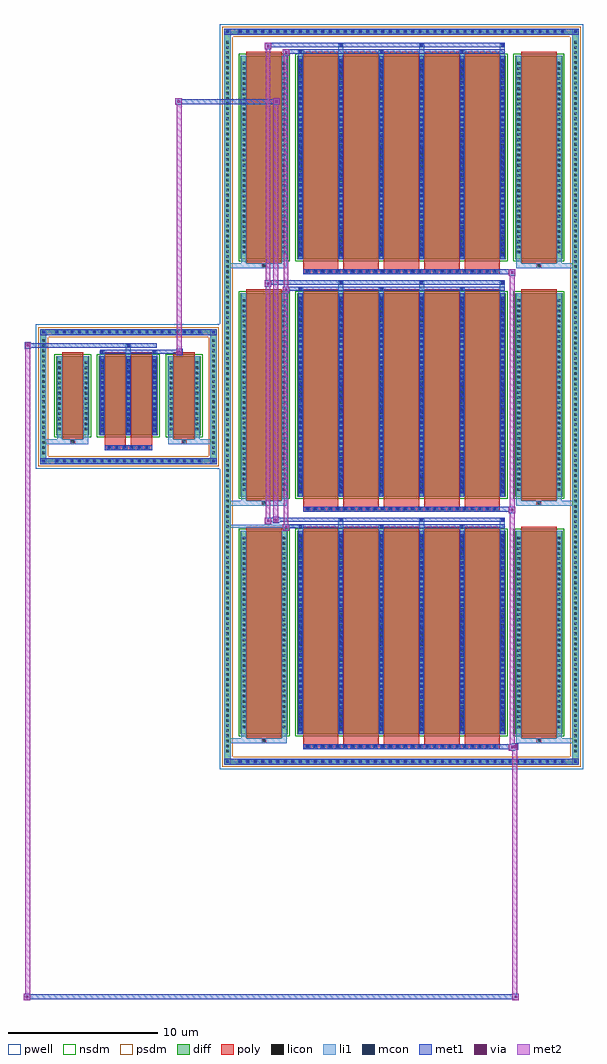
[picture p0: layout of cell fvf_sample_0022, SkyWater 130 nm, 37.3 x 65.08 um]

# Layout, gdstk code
import gdstk
lib = gdstk.Library(unit=1e-6, precision=1e-09)
def R(c, l, rs):  # rectangles x0, y0, x1, y1
    for r in rs: c.add(gdstk.rectangle(r[:2], r[2:], *l))
def A(c, l, x, y, w, h, nx, ny, dx, dy):  # array of equal rectangles
    R(c, l, [(x+i*dx, y+j*dy, x+i*dx+w, y+j*dy+h) for i in range(nx) for j in range(ny)])
def P(c, l, *ps):  # polygons
    for p in ps: c.add(gdstk.Polygon(p, *l))
pwell = (64, 44)
diff = (65, 20)
poly = (66, 20)
licon = (66, 44)
li1 = (67, 20)
mcon = (67, 44)
met1 = (68, 20)
via = (68, 44)
met2 = (69, 20)
nsdm = (93, 44)
psdm = (94, 20)

fvf_sample_0022 = lib.new_cell('fvf_sample_0022')
R(fvf_sample_0022, pwell, [(6.091,-24.848,30.325,24.848), (-6.191,-4.817,6.191,4.817)])
A(fvf_sample_0022, diff, 7.253, -24.538, 0.41, 0.41, 44, 2, 0.5, 48.666)
A(fvf_sample_0022, diff, 6.401, -23.835, 0.41, 0.41, 1, 140, 0, 0.34)
A(fvf_sample_0022, diff, 29.605, -23.835, 0.41, 0.41, 1, 140, 0, 0.34)
A(fvf_sample_0022, diff, 7.471, -22.517, 3.142, 13.586, 1, 3, 0, 15.832)
A(fvf_sample_0022, diff, 11.253, -22.517, 13.91, 13.586, 1, 3, 0, 15.832)
A(fvf_sample_0022, diff, 25.803, -22.517, 3.142, 13.586, 1, 3, 0, 15.832)
A(fvf_sample_0022, diff, -4.955, -4.507, 0.41, 0.41, 20, 2, 0.5, 8.604)
A(fvf_sample_0022, diff, -5.881, -3.945, 0.41, 0.41, 1, 23, 0, 0.34)
A(fvf_sample_0022, diff, 5.471, -3.945, 0.41, 0.41, 1, 23, 0, 0.34)
R(fvf_sample_0022, diff, [(7.253,-24.538,29.163,-24.128), (6.401,-23.835,6.811,23.835), (29.605,-23.835,30.015,23.835), (-4.955,-4.507,4.955,-4.097), (-5.881,-3.945,-5.471,3.945), (5.471,-3.945,5.881,3.945), (-4.811,-2.586,-2.613,2.702), (-1.973,-2.586,1.973,2.702), (2.613,-2.586,4.811,2.702), (-4.955,4.097,4.955,4.507), (7.253,24.128,29.163,24.538)])
P(fvf_sample_0022, diff, [(5.881,4.507),(-5.881,4.507),(-5.881,-4.097),(-5.471,-4.097),(-5.471,4.097),(5.471,4.097),(5.471,-4.097),(-5.471,-4.097),(-5.881,-4.097),(-5.881,-4.507),(5.881,-4.507)],
  [(30.015,24.538),(6.401,24.538),(6.401,-24.128),(6.811,-24.128),(6.811,24.128),(29.605,24.128),(29.605,-24.128),(6.811,-24.128),(6.401,-24.128),(6.401,-24.538),(30.015,-24.538)])
A(fvf_sample_0022, poly, 11.643, -23.498, 13.13, 0.33, 1, 3, 0, 15.832)
A(fvf_sample_0022, poly, 11.793, -23.498, 0.33, 0.33, 26, 3, 0.5, 15.832)
A(fvf_sample_0022, poly, 11.643, -23.168, 2.362, 0.401, 5, 3, 2.692, 15.832)
A(fvf_sample_0022, poly, 7.861, -22.767, 2.362, 14.086, 1, 3, 0, 15.832)
A(fvf_sample_0022, poly, 11.643, -22.767, 2.362, 14.086, 5, 3, 2.692, 15.832)
A(fvf_sample_0022, poly, 26.193, -22.767, 2.362, 14.086, 1, 3, 0, 15.832)
A(fvf_sample_0022, poly, -1.415, -3.566, 0.33, 0.33, 6, 1, 0.5, 0)
R(fvf_sample_0022, poly, [(8.877,-23.097,9.207,-22.767), (8.877,-23.097,9.207,-22.767), (27.209,-23.097,27.539,-22.767), (27.209,-23.097,27.539,-22.767), (8.877,-7.265,9.207,-6.935), (8.877,-7.265,9.207,-6.935), (27.209,-7.265,27.539,-6.935), (27.209,-7.265,27.539,-6.935), (-1.583,-3.566,1.583,-3.236), (-1.583,-3.236,-0.165,-2.836), (0.165,-3.236,1.583,-2.836), (-3.877,-3.166,-3.547,-2.836), (-3.877,-3.166,-3.547,-2.836), (3.547,-3.166,3.877,-2.836), (3.547,-3.166,3.877,-2.836), (-4.421,-2.836,-3.003,2.952), (-1.583,-2.836,-0.165,2.952), (0.165,-2.836,1.583,2.952), (3.003,-2.836,4.421,2.952), (8.877,8.567,9.207,8.897), (8.877,8.567,9.207,8.897), (27.209,8.567,27.539,8.897), (27.209,8.567,27.539,8.897)])
A(fvf_sample_0022, licon, 7.373, -24.418, 0.17, 0.17, 44, 2, 0.5, 48.666)
A(fvf_sample_0022, licon, 6.521, -23.715, 0.17, 0.17, 1, 140, 0, 0.34)
A(fvf_sample_0022, licon, 29.725, -23.715, 0.17, 0.17, 1, 140, 0, 0.34)
A(fvf_sample_0022, licon, 11.873, -23.418, 0.17, 0.17, 26, 3, 0.5, 15.832)
A(fvf_sample_0022, licon, 8.957, -23.017, 0.17, 0.17, 1, 3, 0, 15.832)
A(fvf_sample_0022, licon, 27.289, -23.017, 0.17, 0.17, 1, 3, 0, 15.832)
A(fvf_sample_0022, licon, 7.611, -22.099, 0.17, 0.17, 1, 38, 0, 0.34)
A(fvf_sample_0022, licon, 10.303, -22.099, 0.17, 0.17, 1, 38, 0, 0.34)
A(fvf_sample_0022, licon, 11.393, -22.099, 0.17, 0.17, 6, 38, 2.692, 0.34)
A(fvf_sample_0022, licon, 25.943, -22.099, 0.17, 0.17, 1, 38, 0, 0.34)
A(fvf_sample_0022, licon, 28.635, -22.099, 0.17, 0.17, 1, 38, 0, 0.34)
A(fvf_sample_0022, licon, 7.611, -6.267, 0.17, 0.17, 1, 38, 0, 0.34)
A(fvf_sample_0022, licon, 10.303, -6.267, 0.17, 0.17, 1, 38, 0, 0.34)
A(fvf_sample_0022, licon, 11.393, -6.267, 0.17, 0.17, 6, 38, 2.692, 0.34)
A(fvf_sample_0022, licon, 25.943, -6.267, 0.17, 0.17, 1, 38, 0, 0.34)
A(fvf_sample_0022, licon, 28.635, -6.267, 0.17, 0.17, 1, 38, 0, 0.34)
A(fvf_sample_0022, licon, -4.835, -4.387, 0.17, 0.17, 20, 2, 0.5, 8.604)
A(fvf_sample_0022, licon, -5.761, -3.825, 0.17, 0.17, 1, 23, 0, 0.34)
A(fvf_sample_0022, licon, 5.591, -3.825, 0.17, 0.17, 1, 23, 0, 0.34)
A(fvf_sample_0022, licon, -1.335, -3.486, 0.17, 0.17, 6, 1, 0.5, 0)
A(fvf_sample_0022, licon, -4.671, -2.237, 0.17, 0.17, 1, 14, 0, 0.34)
A(fvf_sample_0022, licon, -2.923, -2.237, 0.17, 0.17, 1, 14, 0, 0.34)
A(fvf_sample_0022, licon, -1.833, -2.237, 0.17, 0.17, 3, 14, 1.748, 0.34)
A(fvf_sample_0022, licon, 2.753, -2.237, 0.17, 0.17, 1, 14, 0, 0.34)
A(fvf_sample_0022, licon, 4.501, -2.237, 0.17, 0.17, 1, 14, 0, 0.34)
A(fvf_sample_0022, licon, 7.611, 9.565, 0.17, 0.17, 1, 38, 0, 0.34)
A(fvf_sample_0022, licon, 10.303, 9.565, 0.17, 0.17, 1, 38, 0, 0.34)
A(fvf_sample_0022, licon, 11.393, 9.565, 0.17, 0.17, 6, 38, 2.692, 0.34)
A(fvf_sample_0022, licon, 25.943, 9.565, 0.17, 0.17, 1, 38, 0, 0.34)
A(fvf_sample_0022, licon, 28.635, 9.565, 0.17, 0.17, 1, 38, 0, 0.34)
R(fvf_sample_0022, licon, [(-3.797,-3.086,-3.627,-2.916), (3.627,-3.086,3.797,-2.916)])
A(fvf_sample_0022, li1, 7.293, -24.498, 0.33, 0.33, 44, 2, 0.5, 48.666)
A(fvf_sample_0022, li1, 6.441, -23.795, 0.33, 0.33, 1, 140, 0, 0.34)
A(fvf_sample_0022, li1, 29.645, -23.795, 0.33, 0.33, 1, 140, 0, 0.34)
A(fvf_sample_0022, li1, 11.793, -23.498, 0.33, 0.33, 26, 3, 0.5, 15.832)
A(fvf_sample_0022, li1, 6.401, -23.097, 2.476, 0.33, 1, 3, 0, 15.832)
A(fvf_sample_0022, li1, 7.531, -23.097, 0.33, 0.58, 1, 3, 0, 15.832)
A(fvf_sample_0022, li1, 7.531, -23.097, 1.346, 0.33, 1, 3, 0, 15.832)
A(fvf_sample_0022, li1, 8.877, -23.097, 0.33, 0.33, 1, 3, 0, 15.832)
A(fvf_sample_0022, li1, 9.207, -23.097, 1.346, 0.33, 1, 3, 0, 15.832)
A(fvf_sample_0022, li1, 10.223, -23.097, 0.33, 0.58, 1, 3, 0, 15.832)
A(fvf_sample_0022, li1, 25.863, -23.097, 0.33, 0.58, 1, 3, 0, 15.832)
A(fvf_sample_0022, li1, 25.863, -23.097, 1.346, 0.33, 1, 3, 0, 15.832)
A(fvf_sample_0022, li1, 27.209, -23.097, 0.33, 0.33, 1, 3, 0, 15.832)
A(fvf_sample_0022, li1, 27.209, -23.097, 2.806, 0.33, 1, 3, 0, 15.832)
A(fvf_sample_0022, li1, 27.539, -23.097, 1.346, 0.33, 1, 3, 0, 15.832)
A(fvf_sample_0022, li1, 28.555, -23.097, 0.33, 0.58, 1, 3, 0, 15.832)
A(fvf_sample_0022, li1, 7.531, -22.517, 0.33, 13.586, 1, 3, 0, 15.832)
A(fvf_sample_0022, li1, 10.223, -22.517, 0.33, 13.586, 1, 3, 0, 15.832)
A(fvf_sample_0022, li1, 11.313, -22.517, 0.33, 13.586, 6, 3, 2.692, 15.832)
A(fvf_sample_0022, li1, 25.863, -22.517, 0.33, 13.586, 1, 3, 0, 15.832)
A(fvf_sample_0022, li1, 28.555, -22.517, 0.33, 13.586, 1, 3, 0, 15.832)
A(fvf_sample_0022, li1, 11.393, -22.289, 0.17, 0.17, 6, 37, 2.692, 0.36)
A(fvf_sample_0022, li1, 11.393, -22.289, 0.17, 13.13, 6, 3, 2.692, 15.832)
A(fvf_sample_0022, li1, 7.531, -22.179, 0.33, 0.33, 1, 38, 0, 0.34)
A(fvf_sample_0022, li1, 10.223, -22.179, 0.33, 0.33, 1, 38, 0, 0.34)
A(fvf_sample_0022, li1, 11.313, -22.179, 0.33, 0.33, 6, 38, 2.692, 0.34)
A(fvf_sample_0022, li1, 25.863, -22.179, 0.33, 0.33, 1, 38, 0, 0.34)
A(fvf_sample_0022, li1, 28.555, -22.179, 0.33, 0.33, 1, 38, 0, 0.34)
A(fvf_sample_0022, li1, 11.313, -8.931, 0.33, 0.375, 3, 3, 5.384, 15.832)
A(fvf_sample_0022, li1, 14.005, -8.931, 0.33, 0.805, 3, 3, 5.384, 15.832)
A(fvf_sample_0022, li1, 11.393, -8.726, 0.17, 0.17, 3, 3, 5.384, 15.832)
A(fvf_sample_0022, li1, 14.085, -8.296, 0.17, 0.17, 3, 3, 5.384, 15.832)
A(fvf_sample_0022, li1, 11.393, -6.457, 0.17, 0.17, 6, 37, 2.692, 0.36)
A(fvf_sample_0022, li1, 7.531, -6.347, 0.33, 0.33, 1, 38, 0, 0.34)
A(fvf_sample_0022, li1, 10.223, -6.347, 0.33, 0.33, 1, 38, 0, 0.34)
A(fvf_sample_0022, li1, 11.313, -6.347, 0.33, 0.33, 6, 38, 2.692, 0.34)
A(fvf_sample_0022, li1, 25.863, -6.347, 0.33, 0.33, 1, 38, 0, 0.34)
A(fvf_sample_0022, li1, 28.555, -6.347, 0.33, 0.33, 1, 38, 0, 0.34)
A(fvf_sample_0022, li1, -4.915, -4.467, 0.33, 0.33, 20, 2, 0.5, 8.604)
A(fvf_sample_0022, li1, -5.841, -3.905, 0.33, 0.33, 1, 23, 0, 0.34)
A(fvf_sample_0022, li1, 5.511, -3.905, 0.33, 0.33, 1, 23, 0, 0.34)
A(fvf_sample_0022, li1, -1.415, -3.566, 0.33, 0.33, 6, 1, 0.5, 0)
A(fvf_sample_0022, li1, -1.913, -2.586, 0.33, 5.288, 3, 1, 1.748, 0)
A(fvf_sample_0022, li1, -1.833, -2.367, 0.17, 0.17, 3, 14, 1.748, 0.36)
A(fvf_sample_0022, li1, -1.833, -2.367, 0.17, 4.85, 3, 1, 1.748, 0)
A(fvf_sample_0022, li1, -4.751, -2.317, 0.33, 0.33, 1, 14, 0, 0.34)
A(fvf_sample_0022, li1, -3.003, -2.317, 0.33, 0.33, 1, 14, 0, 0.34)
A(fvf_sample_0022, li1, -1.913, -2.317, 0.33, 0.33, 3, 14, 1.748, 0.34)
A(fvf_sample_0022, li1, 2.673, -2.317, 0.33, 0.33, 1, 14, 0, 0.34)
A(fvf_sample_0022, li1, 4.421, -2.317, 0.33, 0.33, 1, 14, 0, 0.34)
A(fvf_sample_0022, li1, 11.393, 9.375, 0.17, 0.17, 6, 37, 2.692, 0.36)
A(fvf_sample_0022, li1, 7.531, 9.485, 0.33, 0.33, 1, 38, 0, 0.34)
A(fvf_sample_0022, li1, 10.223, 9.485, 0.33, 0.33, 1, 38, 0, 0.34)
A(fvf_sample_0022, li1, 11.313, 9.485, 0.33, 0.33, 6, 38, 2.692, 0.34)
A(fvf_sample_0022, li1, 25.863, 9.485, 0.33, 0.33, 1, 38, 0, 0.34)
A(fvf_sample_0022, li1, 28.555, 9.485, 0.33, 0.33, 1, 38, 0, 0.34)
R(fvf_sample_0022, li1, [(6.401,-24.538,6.811,-24.128), (29.605,-24.538,30.015,-24.128), (7.293,-24.498,29.123,-24.168), (6.521,-24.418,6.691,-24.248), (6.521,-24.418,6.691,-24.248), (29.725,-24.418,29.895,-24.248), (29.725,-24.418,29.895,-24.248), (6.401,-24.128,6.811,24.128), (29.605,-24.128,30.015,24.128), (11.333,-8.786,11.623,-8.496), (6.401,-8.741,11.333,-8.541), (11.393,-8.726,11.563,-8.556), (-5.881,-4.507,-5.471,-4.097), (5.471,-4.507,5.881,-4.097), (-4.915,-4.467,4.915,-4.137), (-5.761,-4.387,-5.591,-4.217), (-5.761,-4.387,-5.591,-4.217), (5.591,-4.387,5.761,-4.217), (5.591,-4.387,5.761,-4.217), (-5.881,-4.097,-5.471,4.097), (5.471,-4.097,5.881,4.097), (-5.881,-3.166,-3.877,-2.836), (-4.751,-3.166,-3.877,-2.836), (-4.751,-3.166,-4.421,-2.586), (-3.877,-3.166,-3.547,-2.836), (-3.547,-3.166,-2.673,-2.836), (-3.003,-3.166,-2.673,-2.586), (2.673,-3.166,3.547,-2.836), (2.673,-3.166,3.003,-2.586), (3.547,-3.166,3.877,-2.836), (3.547,-3.166,5.881,-2.836), (3.877,-3.166,4.751,-2.836), (4.421,-3.166,4.751,-2.586), (-4.751,-2.586,-4.421,2.702), (-3.003,-2.586,-2.673,2.702), (2.673,-2.586,3.003,2.702), (4.421,-2.586,4.751,2.702), (-1.913,2.702,-1.583,3.077), (-0.165,2.702,0.165,3.507), (1.583,2.702,1.913,3.077), (-1.833,2.907,-1.663,3.077), (1.663,2.907,1.833,3.077), (-0.085,3.337,0.085,3.507), (-5.881,4.097,-5.471,4.507), (5.471,4.097,5.881,4.507), (-4.915,4.137,4.915,4.467), (-5.761,4.217,-5.591,4.387), (-5.761,4.217,-5.591,4.387), (5.591,4.217,5.761,4.387), (5.591,4.217,5.761,4.387), (6.401,24.128,6.811,24.538), (29.605,24.128,30.015,24.538), (7.293,24.168,29.123,24.498), (6.521,24.248,6.691,24.418), (6.521,24.248,6.691,24.418), (29.725,24.248,29.895,24.418), (29.725,24.248,29.895,24.418)])
A(fvf_sample_0022, mcon, 7.373, -24.418, 0.17, 0.17, 44, 2, 0.5, 48.666)
A(fvf_sample_0022, mcon, 11.873, -23.418, 0.17, 0.17, 26, 3, 0.5, 15.832)
A(fvf_sample_0022, mcon, 11.393, -22.289, 0.17, 0.17, 6, 37, 2.692, 0.36)
A(fvf_sample_0022, mcon, 11.393, -8.726, 0.17, 0.17, 3, 3, 5.384, 15.832)
A(fvf_sample_0022, mcon, 14.085, -8.296, 0.17, 0.17, 3, 3, 5.384, 15.832)
A(fvf_sample_0022, mcon, 11.393, -6.457, 0.17, 0.17, 6, 37, 2.692, 0.36)
A(fvf_sample_0022, mcon, -4.835, -4.387, 0.17, 0.17, 20, 2, 0.5, 8.604)
A(fvf_sample_0022, mcon, -1.335, -3.486, 0.17, 0.17, 6, 1, 0.5, 0)
A(fvf_sample_0022, mcon, -1.833, -2.367, 0.17, 0.17, 3, 14, 1.748, 0.36)
A(fvf_sample_0022, mcon, 11.393, 9.375, 0.17, 0.17, 6, 37, 2.692, 0.36)
R(fvf_sample_0022, mcon, [(6.521,-24.418,6.691,-24.248), (29.725,-24.418,29.895,-24.248), (11.393,-8.726,11.563,-8.556), (-5.761,-4.387,-5.591,-4.217), (5.591,-4.387,5.761,-4.217), (-1.833,2.907,-1.663,3.077), (1.663,2.907,1.833,3.077), (-0.085,3.337,0.085,3.507), (-5.761,4.217,-5.591,4.387), (5.591,4.217,5.761,4.387), (6.521,24.248,6.691,24.418), (29.725,24.248,29.895,24.418)])
A(fvf_sample_0022, met1, 7.313, -24.478, 0.29, 0.29, 44, 2, 0.5, 48.666)
A(fvf_sample_0022, met1, 11.643, -23.498, 13.13, 0.33, 1, 3, 0, 15.832)
A(fvf_sample_0022, met1, 11.813, -23.478, 0.29, 0.29, 26, 3, 0.5, 15.832)
A(fvf_sample_0022, met1, 11.333, -22.517, 0.29, 13.586, 6, 3, 2.692, 15.832)
A(fvf_sample_0022, met1, 11.333, -22.349, 0.29, 0.29, 6, 37, 2.692, 0.36)
A(fvf_sample_0022, met1, 11.333, -8.786, 0.29, 0.29, 3, 3, 5.384, 15.832)
A(fvf_sample_0022, met1, 14.025, -8.356, 0.29, 0.29, 3, 3, 5.384, 15.832)
A(fvf_sample_0022, met1, 11.333, -6.517, 0.29, 0.29, 6, 37, 2.692, 0.36)
A(fvf_sample_0022, met1, -4.895, -4.447, 0.29, 0.29, 20, 2, 0.5, 8.604)
A(fvf_sample_0022, met1, -1.395, -3.546, 0.29, 0.29, 6, 1, 0.5, 0)
A(fvf_sample_0022, met1, -1.893, -2.586, 0.29, 5.288, 3, 1, 1.748, 0)
A(fvf_sample_0022, met1, -1.893, -2.427, 0.29, 0.29, 3, 14, 1.748, 0.36)
A(fvf_sample_0022, met1, 11.333, 9.315, 0.29, 0.29, 6, 37, 2.692, 0.36)
R(fvf_sample_0022, met1, [(-6.975,-40.23,-6.545,-39.8), (25.608,-40.23,26.038,-39.8), (-6.975,-40.18,26.038,-39.85), (-6.975,-39.85,-6.545,-39.8), (25.608,-39.85,26.038,-39.8), (6.401,-24.538,6.811,-24.128), (6.401,-24.538,6.811,-24.128), (6.811,-24.538,29.605,-24.128), (29.605,-24.538,30.015,-24.128), (29.605,-24.538,30.015,-24.128), (6.461,-24.478,6.751,-24.188), (29.665,-24.478,29.955,-24.188), (25.373,-23.598,25.803,-23.168), (25.558,-23.548,25.988,-23.118), (24.773,-23.498,25.558,-23.168), (24.773,-23.498,25.803,-23.168), (10.303,-8.926,10.733,-8.496), (10.303,-8.786,11.333,-8.496), (11.333,-8.786,11.623,-8.496), (11.333,-8.786,25.083,-8.496), (9.103,-8.496,9.533,-8.066), (9.618,-8.426,10.048,-7.996), (9.103,-8.356,11.333,-8.066), (10.048,-8.356,11.333,-8.066), (11.333,-8.356,25.083,-8.066), (25.373,-7.766,25.803,-7.336), (25.373,-7.766,25.803,-7.336), (24.773,-7.666,25.803,-7.336), (24.773,-7.666,25.803,-7.336), (-5.881,-4.507,-5.471,-4.097), (-5.881,-4.507,-5.471,-4.097), (-5.471,-4.507,5.471,-4.097), (5.471,-4.507,5.881,-4.097), (5.471,-4.507,5.881,-4.097), (-5.821,-4.447,-5.531,-4.157), (5.531,-4.447,5.821,-4.157), (-1.583,-3.566,1.583,-3.236), (3.178,2.777,3.608,3.207), (-1.893,2.847,-1.603,3.137), (-1.893,2.847,1.893,3.137), (1.603,2.847,1.893,3.137), (1.893,2.847,3.178,3.137), (-6.925,3.207,-6.495,3.637), (-6.495,3.277,-1.893,3.567), (-1.893,3.277,1.893,3.567), (-0.145,3.277,0.145,3.567), (-5.881,4.097,-5.471,4.507), (-5.881,4.097,-5.471,4.507), (-5.471,4.097,5.471,4.507), (5.471,4.097,5.881,4.507), (5.471,4.097,5.881,4.507), (-5.821,4.157,-5.531,4.447), (5.531,4.157,5.821,4.447), (10.303,6.906,10.733,7.336), (10.303,6.906,10.733,7.336), (10.303,7.046,11.333,7.336), (10.303,7.046,11.333,7.336), (11.333,7.046,25.083,7.336), (9.103,7.336,9.533,7.766), (9.103,7.336,9.533,7.766), (9.103,7.476,11.333,7.766), (9.103,7.476,11.333,7.766), (11.333,7.476,25.083,7.766), (25.373,8.066,25.803,8.496), (24.773,8.166,25.803,8.496), (3.128,19.459,3.558,19.889), (9.668,19.459,10.098,19.889), (3.128,19.509,10.098,19.839), (3.128,19.839,3.558,19.889), (9.668,19.839,10.098,19.889), (10.303,22.738,10.733,23.168), (10.303,22.878,11.333,23.168), (11.333,22.878,25.083,23.168), (9.103,23.168,9.533,23.598), (9.103,23.308,11.333,23.598), (11.333,23.308,25.083,23.598), (6.401,24.128,6.811,24.538), (6.401,24.128,6.811,24.538), (6.811,24.128,29.605,24.538), (29.605,24.128,30.015,24.538), (29.605,24.128,30.015,24.538), (6.461,24.188,6.751,24.478), (29.665,24.188,29.955,24.478)])
R(fvf_sample_0022, via, [(-6.835,-40.09,-6.685,-39.94), (25.748,-40.09,25.898,-39.94), (25.513,-23.458,25.663,-23.308), (25.698,-23.408,25.848,-23.258), (10.443,-8.786,10.593,-8.636), (9.243,-8.356,9.393,-8.206), (9.758,-8.286,9.908,-8.136), (25.513,-7.626,25.663,-7.476), (25.513,-7.626,25.663,-7.476), (3.318,2.917,3.468,3.067), (-6.785,3.347,-6.635,3.497), (10.443,7.046,10.593,7.196), (10.443,7.046,10.593,7.196), (9.243,7.476,9.393,7.626), (9.243,7.476,9.393,7.626), (25.513,8.206,25.663,8.356), (3.268,19.599,3.418,19.749), (9.808,19.599,9.958,19.749), (10.443,22.878,10.593,23.028), (9.243,23.308,9.393,23.458)])
R(fvf_sample_0022, met2, [(-6.975,-40.23,-6.545,-39.8), (-6.875,-40.23,-6.545,3.257), (25.608,-40.23,26.038,-39.8), (25.608,-40.23,25.938,-23.498), (-6.925,-40.18,-6.595,-39.85), (25.658,-40.18,25.988,-39.85), (25.373,-23.598,25.803,-23.168), (25.423,-23.598,25.753,-7.336), (25.753,-23.598,25.803,-23.168), (25.423,-23.548,25.753,-23.218), (25.608,-23.498,25.938,-23.168), (10.303,-8.926,10.733,-8.496), (10.373,-8.926,10.663,7.336), (10.663,-8.926,10.733,-8.496), (10.353,-8.876,10.683,-8.546), (9.103,-8.496,9.533,-8.066), (9.173,-8.496,9.463,7.766), (9.463,-8.496,9.533,-8.066), (9.153,-8.446,9.483,-8.116), (9.668,-8.376,9.998,-8.046), (9.668,-8.046,9.998,19.889), (25.373,-7.766,25.803,-7.336), (25.373,-7.766,25.803,-7.336), (25.423,-7.766,25.753,8.496), (25.753,-7.766,25.803,-7.336), (25.753,-7.766,25.803,-7.336), (25.423,-7.716,25.753,-7.386), (25.423,-7.716,25.753,-7.386), (3.228,2.827,3.558,3.157), (3.228,3.157,3.558,19.889), (-6.875,3.257,-6.545,3.587), (10.303,6.906,10.733,7.336), (10.303,6.906,10.733,7.336), (10.373,6.906,10.663,23.168), (10.663,6.906,10.733,7.336), (10.663,6.906,10.733,7.336), (10.353,6.956,10.683,7.286), (10.353,6.956,10.683,7.286), (9.103,7.336,9.533,7.766), (9.103,7.336,9.533,7.766), (9.173,7.336,9.463,23.598), (9.463,7.336,9.533,7.766), (9.463,7.336,9.533,7.766), (9.153,7.386,9.483,7.716), (9.153,7.386,9.483,7.716), (25.373,8.066,25.803,8.496), (25.753,8.066,25.803,8.496), (25.423,8.116,25.753,8.446), (3.128,19.459,3.558,19.889), (9.668,19.459,10.098,19.889), (3.178,19.509,3.508,19.839), (9.718,19.509,10.048,19.839), (10.303,22.738,10.733,23.168), (10.663,22.738,10.733,23.168), (10.353,22.788,10.683,23.118), (9.103,23.168,9.533,23.598), (9.463,23.168,9.533,23.598), (9.153,23.218,9.483,23.548)])
A(fvf_sample_0022, nsdm, 7.341, -22.647, 3.402, 13.846, 1, 3, 0, 15.832)
A(fvf_sample_0022, nsdm, 11.123, -22.647, 14.17, 13.846, 1, 3, 0, 15.832)
A(fvf_sample_0022, nsdm, 25.673, -22.647, 3.402, 13.846, 1, 3, 0, 15.832)
R(fvf_sample_0022, nsdm, [(-4.941,-2.716,-2.483,2.832), (-2.103,-2.716,2.103,2.832), (2.483,-2.716,4.941,2.832)])
P(fvf_sample_0022, psdm, [(6.011,4.637),(-6.011,4.637),(-6.011,-3.967),(-5.341,-3.967),(-5.341,3.967),(5.341,3.967),(5.341,-3.967),(-5.341,-3.967),(-6.011,-3.967),(-6.011,-4.637),(6.011,-4.637)],
  [(30.145,24.668),(6.271,24.668),(6.271,-23.998),(6.941,-23.998),(6.941,23.998),(29.475,23.998),(29.475,-23.998),(6.941,-23.998),(6.271,-23.998),(6.271,-24.668),(30.145,-24.668)])

lib.write_gds('fvf_sample_0022.gds')
